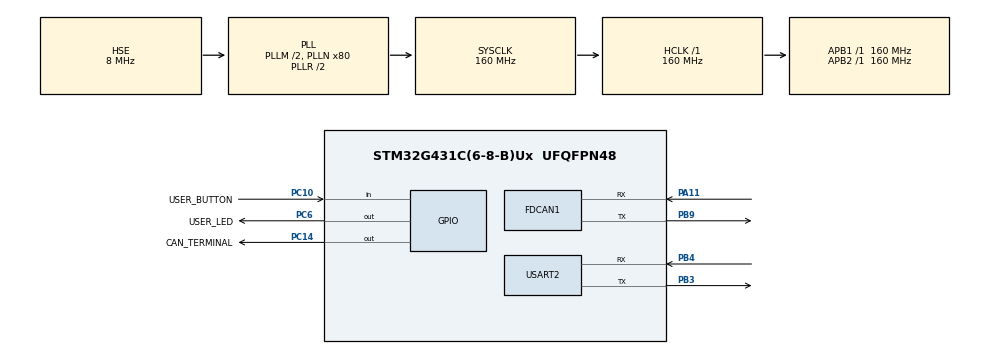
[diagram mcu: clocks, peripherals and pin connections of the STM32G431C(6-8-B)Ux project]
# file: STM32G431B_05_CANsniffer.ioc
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FDCAN1.AutoRetransmission=ENABLE
FDCAN1.CalculateBaudRateNominal=1000000
FDCAN1.CalculateTimeBitNominal=1000
FDCAN1.CalculateTimeQuantumNominal=100.0
FDCAN1.Mode=FDCAN_MODE_NORMAL
FDCAN1.NominalPrescaler=16
FDCAN1.NominalTimeSeg1=7
FDCAN1.NominalTimeSeg2=2
Mcu.Family=STM32G4
Mcu.Name=STM32G431C(6-8-B)Ux
Mcu.Package=UFQFPN48
NVIC.FDCAN1_IT0_IRQn=true\:0\:0\:false\:false\:true\:true\:true\:true
NVIC.FDCAN1_IT1_IRQn=true\:0\:0\:false\:false\:true\:true\:true\:true
NVIC.PriorityGroup=NVIC_PRIORITYGROUP_4
PA11.GPIO_Mode=GPIO_MODE_AF_PP
PA11.Mode=FDCAN_Activate
PA11.Signal=FDCAN1_RX
PB3.Mode=Asynchronous
PB3.Signal=USART2_TX
PB4.Mode=Asynchronous
PB4.Signal=USART2_RX
PB9.Mode=FDCAN_Activate
PB9.Signal=FDCAN1_TX
PC10.GPIO_Label=USER_BUTTON
PC10.GPIO_PuPd=GPIO_PULLUP
PC10.Signal=GPIO_Input
PC14-OSC32_IN.GPIO_Label=CAN_TERMINAL
PC14-OSC32_IN.Signal=GPIO_Output
PC6.GPIO_Label=USER_LED
PC6.Signal=GPIO_Output
PF0-OSC_IN.Mode=HSE-External-Oscillator
PF0-OSC_IN.Signal=RCC_OSC_IN
PF1-OSC_OUT.Mode=HSE-External-Oscillator
PF1-OSC_OUT.Signal=RCC_OSC_OUT
ProjectManager.HeapSize=0x200
ProjectManager.StackSize=0x400
ProjectManager.TargetToolchain=STM32CubeIDE
RCC.ADC12Freq_Value=160000000
RCC.AHBFreq_Value=160000000
RCC.APB1Freq_Value=160000000
RCC.APB1TimFreq_Value=160000000
RCC.APB2Freq_Value=160000000
RCC.APB2TimFreq_Value=160000000
RCC.CortexFreq_Value=160000000
RCC.EXTERNAL_CLOCK_VALUE=12288000
RCC.HCLKFreq_Value=160000000
RCC.HSE_VALUE=8000000
RCC.HSI48_VALUE=48000000
RCC.HSI_VALUE=16000000
RCC.LSE_VALUE=32768
RCC.PLLM=RCC_PLLM_DIV2
RCC.PLLN=80
RCC.PLLSourceVirtual=RCC_PLLSOURCE_HSE
RCC.SYSCLKFreq_VALUE=160000000
RCC.SYSCLKSource=RCC_SYSCLKSOURCE_PLLCLK
RCC.USBFreq_Value=160000000
RCC.VCOOutputFreq_Value=320000000
USART2.VirtualMode-Asynchronous=VM_ASYNC
VP_SYS_VS_DBSignals.Mode=DisableDeadBatterySignals
board=custom

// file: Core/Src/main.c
/* USER CODE BEGIN Header */
/**
  ******************************************************************************
  * @file           : main.c
  * @brief          : CAN Monitor - Receives CAN messages and logs them via UART
  * @description    : This program configures an STM32G431 as a CAN bus monitor.
  *                   It receives all CAN messages on the bus and prints them
  *                   to the serial terminal (UART2) with ID, DLC, and data bytes.
  ******************************************************************************
  * @attention
  *
  * Copyright (c) 2025 STMicroelectronics.
  * All rights reserved.
  *
  * This software is licensed under terms that can be found in the LICENSE file
  * in the root directory of this software component.
  * If no LICENSE file comes with this software, it is provided AS-IS.
  *
  ******************************************************************************
  */
/* USER CODE END Header */

#include "main.h"

/* USER CODE BEGIN Includes */
#include <stdio.h>   // For snprintf() formatting
#include <string.h>  // For strlen() in UART transmit
/* USER CODE END Includes */

FDCAN_HandleTypeDef hfdcan1;  // FDCAN1 peripheral handle

UART_HandleTypeDef huart2;    // USART2 peripheral handle for debug output

void SystemClock_Config(void);
static void MX_GPIO_Init(void);
static void MX_FDCAN1_Init(void);
static void MX_USART2_UART_Init(void);

/* USER CODE BEGIN 0 */

// Buffer for UART printf-style output (200 bytes max)
char uart_buf[200];

/**
  * @brief  Sends a string to UART2 for serial terminal output
  * @param  msg: Pointer to null-terminated string to transmit
  * @retval None
  */
void uart_print(char *msg) {
    HAL_UART_Transmit(&huart2, (uint8_t*)msg, strlen(msg), HAL_MAX_DELAY);
}

// CAN filter configuration structure
FDCAN_FilterTypeDef sFilterConfig;

// CAN receive header (contains ID, DLC, timestamp, etc.)
FDCAN_RxHeaderTypeDef RxHeader;

// Buffer to store received CAN data bytes (max 8 bytes for Classic CAN)
uint8_t RxData[8];

/* USER CODE END 0 */

int main(void)
{

  /* MCU Configuration--------------------------------------------------------*/

  /* Reset of all peripherals, Initializes the Flash interface and the Systick. */
  HAL_Init();

  /* Configure the system clock */
  SystemClock_Config();

  /* Initialize all configured peripherals */
  MX_GPIO_Init();         // Initialize GPIO pins (LED, button, CAN_TERMINAL)
  MX_FDCAN1_Init();       // Initialize FDCAN1 peripheral
  MX_USART2_UART_Init();  // Initialize USART2 for debug output

  /* USER CODE BEGIN 2 */

  // Disable CAN termination resistor (120Ω)
  // For point-to-point connection, termination is not needed
  HAL_GPIO_WritePin(CAN_TERMINAL_GPIO_Port, CAN_TERMINAL_Pin, GPIO_PIN_RESET);

  // Configure CAN filter to accept ALL messages (ID 0x000 to 0x7FF)
  sFilterConfig.IdType = FDCAN_STANDARD_ID;           // Use 11-bit Standard IDs
  sFilterConfig.FilterIndex = 0;                      // Use filter bank 0
  sFilterConfig.FilterType = FDCAN_FILTER_RANGE;      // Range filter mode
  sFilterConfig.FilterConfig = FDCAN_FILTER_TO_RXFIFO0; // Route to RX FIFO 0
  sFilterConfig.FilterID1 = 0x000;  // Minimum ID to accept
  sFilterConfig.FilterID2 = 0x7FF;  // Maximum ID to accept (all Standard IDs)

  // Wait 3 seconds for UART terminal to connect
  HAL_Delay(3000);

  // Apply the filter configuration
  if (HAL_FDCAN_ConfigFilter(&hfdcan1, &sFilterConfig) != HAL_OK) {
      uart_print("ERROR: Filter config failed!\r\n");
      Error_Handler();
  }

  // Configure global filter to accept Standard and Extended IDs
  // This works in conjunction with the specific filter configured above
  if (HAL_FDCAN_ConfigGlobalFilter(&hfdcan1,
                                    FDCAN_ACCEPT_IN_RX_FIFO0,  // Accept Standard IDs to FIFO0
                                    FDCAN_ACCEPT_IN_RX_FIFO0,  // Accept Extended IDs to FIFO0
                                    FDCAN_FILTER_REMOTE,       // Remote frames handling
                                    FDCAN_FILTER_REMOTE) != HAL_OK) {
      uart_print("ERROR: Global filter config failed!\r\n");
      Error_Handler();
  }

  // Enable interrupt notification for new messages in RX FIFO0
  // This triggers HAL_FDCAN_RxFifo0Callback() when a message is received
  if (HAL_FDCAN_ActivateNotification(&hfdcan1,
                                      FDCAN_IT_RX_FIFO0_NEW_MESSAGE,
                                      0) != HAL_OK) {
      uart_print("ERROR: Notification activation failed!\r\n");
      Error_Handler();
  }

  // Manually enable FDCAN interrupts in NVIC (if not done in CubeMX)
  HAL_NVIC_SetPriority(FDCAN1_IT0_IRQn, 4, 0);  // Set priority 4
  HAL_NVIC_EnableIRQ(FDCAN1_IT0_IRQn);          // Enable interrupt line 0
  HAL_NVIC_SetPriority(FDCAN1_IT1_IRQn, 4, 0);  // Set priority 4
  HAL_NVIC_EnableIRQ(FDCAN1_IT1_IRQn);          // Enable interrupt line 1

  // Re-activate notification (redundant but safe)
  if (HAL_FDCAN_ActivateNotification(&hfdcan1,
                                      FDCAN_IT_RX_FIFO0_NEW_MESSAGE,
                                      0) != HAL_OK) {
      uart_print("ERROR: Notification activation failed!\r\n");
      Error_Handler();
  }

  // Start the FDCAN peripheral - CAN bus is now active
  if (HAL_FDCAN_Start(&hfdcan1) != HAL_OK) {
      uart_print("ERROR: FDCAN start failed!\r\n");
      Error_Handler();
  }

  // Print startup message to serial terminal
  uart_print("\r\n=== CAN Monitor Started ===\r\n");
  uart_print("Waiting for CAN messages...\r\n\r\n");

  /* USER CODE END 2 */

  /* Infinite loop */
  while (1)
  {

    /* USER CODE BEGIN 3 */

    // Main loop does nothing - all CAN reception is handled in interrupt callback
    HAL_Delay(1000);
    // Optional: Uncomment below for heartbeat indicator on terminal
    //uart_print(".");  // Heartbeat every second

  }
  /* USER CODE END 3 */
}

void SystemClock_Config(void)
{
  RCC_OscInitTypeDef RCC_OscInitStruct = {0};
  RCC_ClkInitTypeDef RCC_ClkInitStruct = {0};

  /** Configure the main internal regulator output voltage
  */
  HAL_PWREx_ControlVoltageScaling(PWR_REGULATOR_VOLTAGE_SCALE1_BOOST);

  /** Initializes the RCC Oscillators according to the specified parameters
  * in the RCC_OscInitTypeDef structure.
  */
  RCC_OscInitStruct.OscillatorType = RCC_OSCILLATORTYPE_HSE;  // Use external crystal
  RCC_OscInitStruct.HSEState = RCC_HSE_ON;                    // Enable HSE
  RCC_OscInitStruct.PLL.PLLState = RCC_PLL_ON;                // Enable PLL
  RCC_OscInitStruct.PLL.PLLSource = RCC_PLLSOURCE_HSE;        // PLL source = HSE
  RCC_OscInitStruct.PLL.PLLM = RCC_PLLM_DIV2;                 // Divider M = 2 (8MHz/2 = 4MHz)
  RCC_OscInitStruct.PLL.PLLN = 80;                            // Multiplier N = 80 (4MHz*80 = 320MHz)
  RCC_OscInitStruct.PLL.PLLP = RCC_PLLP_DIV2;                 // P divider (not used)
  RCC_OscInitStruct.PLL.PLLQ = RCC_PLLQ_DIV2;                 // Q divider (not used)
  RCC_OscInitStruct.PLL.PLLR = RCC_PLLR_DIV2;                 // R divider = 2 (320MHz/2 = 160MHz SYSCLK)
  if (HAL_RCC_OscConfig(&RCC_OscInitStruct) != HAL_OK)
  {
    Error_Handler();
  }

  /** Initializes the CPU, AHB and APB buses clocks
  */
  RCC_ClkInitStruct.ClockType = RCC_CLOCKTYPE_HCLK|RCC_CLOCKTYPE_SYSCLK
                              |RCC_CLOCKTYPE_PCLK1|RCC_CLOCKTYPE_PCLK2;
  RCC_ClkInitStruct.SYSCLKSource = RCC_SYSCLKSOURCE_PLLCLK;   // System clock from PLL
  RCC_ClkInitStruct.AHBCLKDivider = RCC_SYSCLK_DIV1;          // AHB = SYSCLK (160 MHz)
  RCC_ClkInitStruct.APB1CLKDivider = RCC_HCLK_DIV1;           // APB1 = HCLK (160 MHz)
  RCC_ClkInitStruct.APB2CLKDivider = RCC_HCLK_DIV1;           // APB2 = HCLK (160 MHz)

  if (HAL_RCC_ClockConfig(&RCC_ClkInitStruct, FLASH_LATENCY_4) != HAL_OK)
  {
    Error_Handler();
  }
}

static void MX_FDCAN1_Init(void)
{

  hfdcan1.Instance = FDCAN1;                                   // Use FDCAN1 peripheral
  hfdcan1.Init.ClockDivider = FDCAN_CLOCK_DIV1;                // No clock division
  hfdcan1.Init.FrameFormat = FDCAN_FRAME_CLASSIC;              // Classic CAN (not CAN-FD)
  hfdcan1.Init.Mode = FDCAN_MODE_NORMAL;                       // Normal operation mode
  hfdcan1.Init.AutoRetransmission = ENABLE;                    // Auto-retransmit on error
  hfdcan1.Init.TransmitPause = DISABLE;                        // No transmit pause
  hfdcan1.Init.ProtocolException = DISABLE;                    // Protocol exception handling disabled

  // Nominal bit timing configuration for 1 Mbit/s @ 160 MHz
  // Bit time = (1 + NominalTimeSeg1 + NominalTimeSeg2) = 10 TQ (Time Quanta)
  // TQ = NominalPrescaler / FDCAN_CLK = 16 / 160MHz = 100 ns
  // Bit rate = 1 / (10 * 100ns) = 1 Mbit/s
  hfdcan1.Init.NominalPrescaler = 16;                          // Prescaler = 16
  hfdcan1.Init.NominalSyncJumpWidth = 1;                       // SJW = 1 TQ
  hfdcan1.Init.NominalTimeSeg1 = 7;                            // Seg1 = 7 TQ (sample point at 80%)
  hfdcan1.Init.NominalTimeSeg2 = 2;                            // Seg2 = 2 TQ

  // Data bit timing (not used for Classic CAN, only for CAN-FD)
  hfdcan1.Init.DataPrescaler = 1;
  hfdcan1.Init.DataSyncJumpWidth = 1;
  hfdcan1.Init.DataTimeSeg1 = 1;
  hfdcan1.Init.DataTimeSeg2 = 1;

  // Filter configuration
  hfdcan1.Init.StdFiltersNbr = 0;                              // Number of standard filters (configured later)
  hfdcan1.Init.ExtFiltersNbr = 0;                              // Number of extended filters
  hfdcan1.Init.TxFifoQueueMode = FDCAN_TX_FIFO_OPERATION;      // TX FIFO mode

  if (HAL_FDCAN_Init(&hfdcan1) != HAL_OK)
  {
    Error_Handler();
  }

}

static void MX_USART2_UART_Init(void)
{

  huart2.Instance = USART2;                                    // Use USART2 peripheral
  huart2.Init.BaudRate = 115200;                               // 115200 bits per second
  huart2.Init.WordLength = UART_WORDLENGTH_8B;                 // 8 data bits
  huart2.Init.StopBits = UART_STOPBITS_1;                      // 1 stop bit
  huart2.Init.Parity = UART_PARITY_NONE;                       // No parity
  huart2.Init.Mode = UART_MODE_TX_RX;                          // TX and RX enabled
  huart2.Init.HwFlowCtl = UART_HWCONTROL_NONE;                 // No hardware flow control
  huart2.Init.OverSampling = UART_OVERSAMPLING_16;             // 16x oversampling
  huart2.Init.OneBitSampling = UART_ONE_BIT_SAMPLE_DISABLE;    // 3-bit sample
  huart2.Init.ClockPrescaler = UART_PRESCALER_DIV1;            // No prescaler
  huart2.AdvancedInit.AdvFeatureInit = UART_ADVFEATURE_NO_INIT; // No advanced features

  if (HAL_UART_Init(&huart2) != HAL_OK)
  {
    Error_Handler();
  }

  // Configure TX FIFO threshold (not critical for this application)
  if (HAL_UARTEx_SetTxFifoThreshold(&huart2, UART_TXFIFO_THRESHOLD_1_8) != HAL_OK)
  {
    Error_Handler();
  }

  // Configure RX FIFO threshold (not critical for this application)
  if (HAL_UARTEx_SetRxFifoThreshold(&huart2, UART_RXFIFO_THRESHOLD_1_8) != HAL_OK)
  {
    Error_Handler();
  }

  // Disable FIFO mode for simpler operation
  if (HAL_UARTEx_DisableFifoMode(&huart2) != HAL_OK)
  {
    Error_Handler();
  }

}

static void MX_GPIO_Init(void)
{
  GPIO_InitTypeDef GPIO_InitStruct = {0};

  /* GPIO Ports Clock Enable */
  __HAL_RCC_GPIOC_CLK_ENABLE();  // Enable GPIOC clock
  __HAL_RCC_GPIOF_CLK_ENABLE();  // Enable GPIOF clock (for HSE pins)
  __HAL_RCC_GPIOA_CLK_ENABLE();  // Enable GPIOA clock (for UART, button)
  __HAL_RCC_GPIOB_CLK_ENABLE();  // Enable GPIOB clock (for CAN pins)

  /*Configure GPIO pin Output Level */
  // Initialize CAN_TERMINAL and USER_LED to LOW
  HAL_GPIO_WritePin(GPIOC, CAN_TERMINAL_Pin|USER_LED_Pin, GPIO_PIN_RESET);

  /*Configure GPIO pins : CAN_TERMINAL_Pin USER_LED_Pin */
  GPIO_InitStruct.Pin = CAN_TERMINAL_Pin|USER_LED_Pin;   // PC13 and PC6
  GPIO_InitStruct.Mode = GPIO_MODE_OUTPUT_PP;             // Push-pull output
  GPIO_InitStruct.Pull = GPIO_NOPULL;                     // No pull-up/pull-down
  GPIO_InitStruct.Speed = GPIO_SPEED_FREQ_LOW;            // Low speed (sufficient for LED/control)
  HAL_GPIO_Init(GPIOC, &GPIO_InitStruct);

  /*Configure GPIO pin : USER_BUTTON_Pin */
  GPIO_InitStruct.Pin = USER_BUTTON_Pin;                  // PA4
  GPIO_InitStruct.Mode = GPIO_MODE_INPUT;                 // Input mode
  GPIO_InitStruct.Pull = GPIO_PULLUP;                     // Internal pull-up (button pulls to GND)
  HAL_GPIO_Init(USER_BUTTON_GPIO_Port, &GPIO_InitStruct);

}

/* USER CODE BEGIN 4 */

/**
  * @brief  CAN RX FIFO 0 Callback
  * @param  hfdcan: pointer to FDCAN handle
  * @param  RxFifo0ITs: interrupt flags for RX FIFO 0
  * @retval None
  * @description This callback is triggered when a new CAN message arrives in RX FIFO 0.
  *              It reads the message, extracts ID and data, and prints to UART.
  *              Called automatically by HAL_FDCAN_IRQHandler() when interrupt occurs.
  */
void HAL_FDCAN_RxFifo0Callback(FDCAN_HandleTypeDef *hfdcan, uint32_t RxFifo0ITs) {

    // Check if the interrupt is for a new message in FIFO 0
    if ((RxFifo0ITs & FDCAN_IT_RX_FIFO0_NEW_MESSAGE) != 0) {

        // Read the message from RX FIFO 0
        // RxHeader will contain: ID, DLC, timestamp, filter index, etc.
        // RxData will contain the actual data bytes
        if (HAL_FDCAN_GetRxMessage(hfdcan, FDCAN_RX_FIFO0, &RxHeader, RxData) == HAL_OK) {

            // Convert FDCAN DataLength enumeration to actual byte count
            // DataLength is NOT a simple number, but an enumerated constant
            // Must use switch statement to decode it properly
            uint8_t data_length = 0;
            switch (RxHeader.DataLength) {
                case FDCAN_DLC_BYTES_0:  data_length = 0; break;   // DLC 0
                case FDCAN_DLC_BYTES_1:  data_length = 1; break;   // DLC 1
                case FDCAN_DLC_BYTES_2:  data_length = 2; break;   // DLC 2
                case FDCAN_DLC_BYTES_3:  data_length = 3; break;   // DLC 3
                case FDCAN_DLC_BYTES_4:  data_length = 4; break;   // DLC 4
                case FDCAN_DLC_BYTES_5:  data_length = 5; break;   // DLC 5
                case FDCAN_DLC_BYTES_6:  data_length = 6; break;   // DLC 6
                case FDCAN_DLC_BYTES_7:  data_length = 7; break;   // DLC 7
                case FDCAN_DLC_BYTES_8:  data_length = 8; break;   // DLC 8

                // CAN-FD extended DLC values (not used in Classic CAN)
                case FDCAN_DLC_BYTES_12: data_length = 12; break;
                case FDCAN_DLC_BYTES_16: data_length = 16; break;
                case FDCAN_DLC_BYTES_20: data_length = 20; break;
                case FDCAN_DLC_BYTES_24: data_length = 24; break;
                case FDCAN_DLC_BYTES_32: data_length = 32; break;
                case FDCAN_DLC_BYTES_48: data_length = 48; break;
                case FDCAN_DLC_BYTES_64: data_length = 64; break;

                default: data_length = 0; break;  // Unknown DLC
            }

            // Format and print message ID and DLC
            // Example output: "[RX] ID: 0x123  DLC: 8  Data: "
            snprintf(uart_buf, sizeof(uart_buf),
                     "\r\n[RX] ID: 0x%03lX  DLC: %u  Data: ",
                     RxHeader.Identifier,  // CAN message ID (11-bit for Standard)
                     data_length);         // Number of data bytes
            uart_print(uart_buf);

            // Print each data byte in hexadecimal format
            // Example output: "11 22 33 44 55 66 77 88 "
            for (uint8_t i = 0; i < data_length; i++) {
                snprintf(uart_buf, sizeof(uart_buf), "%02X ", RxData[i]);
                uart_print(uart_buf);
            }

            // Print newline to end the message
            uart_print("\r\n");
        }
    }
}

/* USER CODE END 4 */

void Error_Handler(void)
{
  /* USER CODE BEGIN Error_Handler_Debug */
  /* User can add his own implementation to report the HAL error return state */
  __disable_irq();  // Disable all interrupts
  while (1)
  {
    // Stuck here forever - attach debugger to investigate
  }
  /* USER CODE END Error_Handler_Debug */
}
